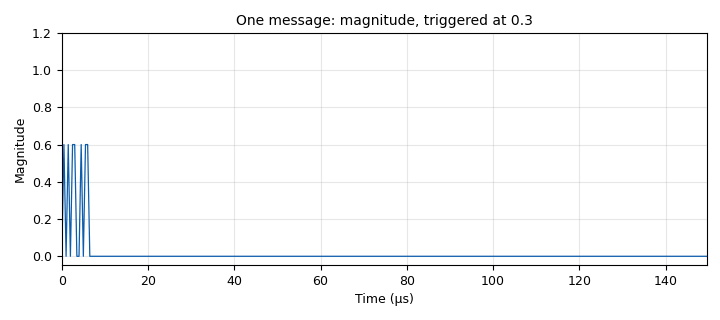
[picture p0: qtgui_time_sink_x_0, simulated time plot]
options:
  parameters:
    author: ECE 448
    description: 'L18: the ADS-B Out generator of L18-adsb-tx.grc, sent from a PlutoSDR at 915 MHz, never at 1090 MHz, into a cable through a 30 dB attenuator to a PlutoSDR receiver running L18-adsb-rx.grc with fc = 915e6 (or over the air at 915 MHz at low power, if your instructor says so). It runs until you stop it. TX attenuation never goes below 30 dB.'
    generate_options: qt_gui
    id: L18_adsb_tx_pluto
    output_language: python
    title: L18 - ADS-B Out at 915 MHz on a PlutoSDR
  states: {}

blocks:
- name: carrier
  id: variable
  parameters:
    value: 75e3
  states: {}
- name: fc
  id: variable
  parameters:
    value: 915e6
  states: {}
- name: samp_rate
  id: variable
  parameters:
    value: 2e6
  states: {}
- name: tx_atten
  id: variable_qtgui_range
  parameters:
    gui_hint: 0,0,1,1
    label: Pluto TX attenuation (dB)
    start: '30'
    step: '1'
    stop: '89'
    value: '60'
  states: {}
- name: analog_sig_source_x_0
  id: analog_sig_source_x
  parameters:
    amp: '1'
    freq: carrier
    offset: '0'
    phase: '0'
    samp_rate: samp_rate
    type: complex
    waveform: analog.GR_COS_WAVE
  states: {}
- name: blocks_complex_to_mag_0
  id: blocks_complex_to_mag
  parameters: {}
  states: {}
- name: blocks_float_to_complex_0
  id: blocks_float_to_complex
  parameters: {}
  states: {}
- name: blocks_multiply_const_vxx_0
  id: blocks_multiply_const_vxx
  parameters:
    const: '0.5'
    type: complex
  states: {}
- name: blocks_multiply_xx_0
  id: blocks_multiply_xx
  parameters:
    type: complex
  states: {}
- name: epy_block_0
  id: epy_block
  parameters:
    _source_code: |
      """ADS-B Out: a simulated sky of four aircraft, as Mode S extended squitters.

      Each message is 112 bits of pulse-position modulation (PPM) at 1 Mb/s after an
      8 us preamble. At 2 MS/s every bit is two samples, or chips: a 1 is a pulse
      then quiet (1, 0), and a 0 is quiet then a pulse (0, 1). The output is the
      pulse envelope, 0 or the aircraft's amplitude, ready to put on a carrier.

      The aircraft send ten or more times as often as real ones do, so a short
      recording holds dozens of messages. Edit AIRCRAFT to fly your own.

      Never transmit this on 1090 MHz: that frequency carries ATC and
      collision-avoidance traffic, and transmitting there is illegal. In this
      course it goes to a SigMF file (L18-adsb-tx.grc) or to a PlutoSDR at
      915 MHz, into a cable through a 30 dB attenuator (L18-adsb-tx-pluto.grc)."""

      import math

      import numpy as np
      from gnuradio import gr

      CHARS = '#ABCDEFGHIJKLMNOPQRSTUVWXYZ##### ###############0123456789######'

      # ICAO address, callsign, latitude, longitude, altitude (ft), ground speed (kt),
      # track (deg), vertical rate (ft/min), amplitude
      AIRCRAFT = [
          (0xA00448, 'ECE448', 38.912, -104.512, 9500, 140, 300, 0, 0.9),
          (0xAE1F21, 'FALCON21', 39.105, -104.702, 14025, 245, 175, -1600, 0.6),
          (0xA9A1B2, 'N731RG', 38.701, -104.950, 11300, 118, 20, 640, 0.35),
          (0xA5C3D7, 'SKW3301', 39.402, -104.388, 23875, 386, 228, -1984, 0.2),
      ]


      def bits(v, n):
          return [(v >> (n - 1 - i)) & 1 for i in range(n)]


      def parity(b):
          """The 24 parity bits of an 88-bit message: generator 0x1FFF409."""
          reg = 0
          for x in b + [0] * 24:
              reg = (reg << 1) | x
              if reg & 0x1000000:
                  reg ^= 0x1FFF409
          return bits(reg, 24)


      def nl(lat):
          if abs(lat) >= 87:
              return 1
          a = 1 - math.cos(math.pi / 30)
          return int(2 * math.pi / math.acos(1 - a / math.cos(math.radians(lat)) ** 2))


      def ident(cs):
          me = bits(4, 5) + bits(3, 3)
          for c in (cs + ' ' * 8)[:8]:
              me += bits(CHARS.index(c), 6)
          return me


      def position(alt, lat, lon, odd):
          n = bits(int(round((alt + 1000) / 25)), 11)
          dlat = 360 / (59 if odd else 60)
          yz = int(2 ** 17 * (lat % dlat) / dlat + 0.5)
          rlat = dlat * (yz / 2 ** 17 + math.floor(lat / dlat))
          dlon = 360 / max(nl(rlat) - odd, 1)
          xz = int(2 ** 17 * (lon % dlon) / dlon + 0.5)
          return (bits(11, 5) + [0, 0, 0] + n[:7] + [1] + n[7:] + [0, odd]
                  + bits(yz % 2 ** 17, 17) + bits(xz % 2 ** 17, 17))


      def velocity(gs, trk, vr):
          ve, vn = gs * math.sin(math.radians(trk)), gs * math.cos(math.radians(trk))
          return (bits(19, 5) + bits(1, 3) + [0, 0, 0, 0, 0]
                  + [int(ve < 0)] + bits(int(round(abs(ve))) + 1, 10)
                  + [int(vn < 0)] + bits(int(round(abs(vn))) + 1, 10)
                  + [1, int(vr < 0)] + bits(int(round(abs(vr) / 64)) + 1, 9) + [0] * 10)


      def chips(icao, me):
          """Preamble plus 112 bits of PPM: 16 + 224 chips."""
          b = bits(17, 5) + bits(5, 3) + bits(icao, 24) + me
          b += parity(b)
          out = [1, 0, 1, 0, 0, 0, 0, 1, 0, 1, 0, 0, 0, 0, 0, 0]
          for x in b:
              out += [1, 0] if x else [0, 1]
          return np.array(out, dtype=np.float32)


      class blk(gr.sync_block):
          def __init__(self, samp_rate=2e6, seed=18):
              gr.sync_block.__init__(self, name='ADS-B Out', in_sig=None, out_sig=[np.float32])
              self.fs = samp_rate
              self.rng = np.random.default_rng(seed)
              self.queue = []          # (start sample, chips)
              self.planned = 0         # samples scheduled so far
              self.slot = 0

          def plan(self, upto):
              """Schedule messages from every aircraft up to sample `upto`."""
              while self.planned < upto:
                  t0, t1 = self.planned, self.planned + int(0.05 * self.fs)
                  for k, (icao, cs, lat, lon, alt, gs, trk, vr, amp) in enumerate(AIRCRAFT):
                      t = t0 / self.fs
                      d = gs * t / 3600 / 60          # degrees of latitude flown
                      la = lat + d * math.cos(math.radians(trk))
                      lo = lon + d * math.sin(math.radians(trk)) / math.cos(math.radians(lat))
                      # position every slot, even and odd in turn; velocity every
                      # second slot; identification every third
                      msgs = [position(alt + vr * t / 60, la, lo, self.slot % 2)]
                      if (self.slot + k) % 2 == 0:
                          msgs.append(velocity(gs, trk, vr))
                      if (self.slot + k) % 3 == 0:
                          msgs.append(ident(cs))
                      for me in msgs:
                          start = int(self.rng.integers(t0, t1))
                          self.queue.append((start, amp * chips(icao, me)))
                  self.planned = t1
                  self.slot += 1

          def work(self, input_items, output_items):
              out = output_items[0]
              n0 = self.nitems_written(0)
              self.plan(n0 + len(out) + 1)
              out[:] = 0
              keep = []
              for start, c in self.queue:
                  a, b = max(start, n0), min(start + len(c), n0 + len(out))
                  if a < b:
                      out[a - n0:b - n0] += c[a - start:b - start]
                  if start + len(c) > n0 + len(out):
                      keep.append((start, c))
              self.queue = keep
              return len(out)
    samp_rate: samp_rate
    seed: '18'
  states: {}
- name: iio_pluto_sink_0
  id: iio_pluto_sink
  parameters:
    attenuation1: tx_atten
    bandwidth: int(samp_rate)
    buffer_size: '32768'
    cyclic: 'False'
    filter_source: '''Auto'''
    frequency: int(fc)
    samplerate: int(samp_rate)
    type: fc32
    uri: '"ip:192.168.2.1"'
  states: {}
- name: qtgui_time_sink_x_0
  id: qtgui_time_sink_x
  parameters:
    entags: 'False'
    grid: 'True'
    gui_hint: 1,0,1,2
    legend: 'False'
    name: '"One message: magnitude, triggered at 0.3"'
    size: '300'
    srate: samp_rate
    tr_delay: '5e-6'
    tr_level: '0.3'
    tr_mode: qtgui.TRIG_MODE_NORM
    type: float
    update_time: '0.1'
    ylabel: '"Magnitude"'
    ymax: '1.2'
    ymin: '0'
  states: {}

connections:
- [analog_sig_source_x_0, '0', blocks_multiply_xx_0, '1']
- [blocks_complex_to_mag_0, '0', qtgui_time_sink_x_0, '0']
- [blocks_float_to_complex_0, '0', blocks_multiply_xx_0, '0']
- [blocks_multiply_const_vxx_0, '0', iio_pluto_sink_0, '0']
- [blocks_multiply_xx_0, '0', blocks_complex_to_mag_0, '0']
- [blocks_multiply_xx_0, '0', blocks_multiply_const_vxx_0, '0']
- [epy_block_0, '0', blocks_float_to_complex_0, '0']

metadata:
  file_format: 1
  grc_version: 3.10.9.2
